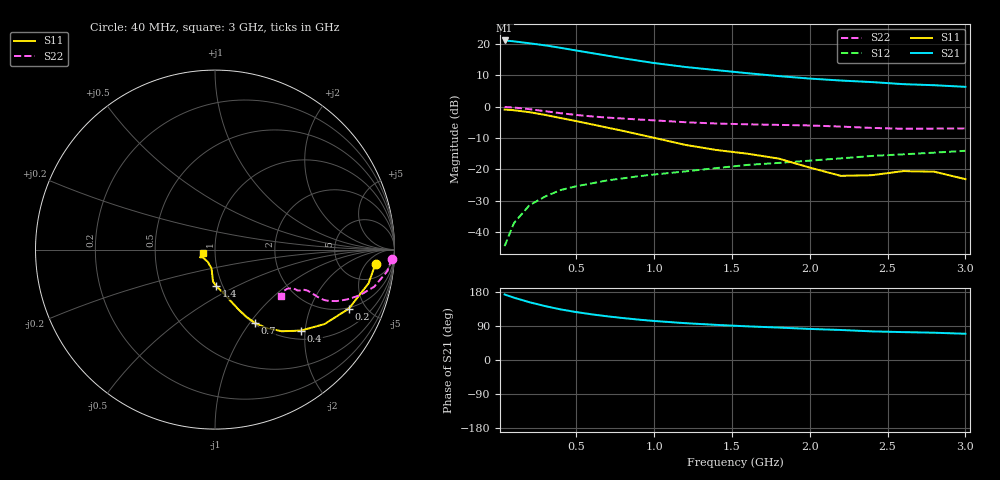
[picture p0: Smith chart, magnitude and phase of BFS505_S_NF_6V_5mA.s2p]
! Filename:  BFS505K.S2P  Version:  4.0
! Philips part #: BFS505  Date: Jun 1994
! Bias condition: Vce=6V, Ic=5mA
#  MHz  S  MA  R  50
! Freq  S11  S21  S12  S22  !GUM [dB]
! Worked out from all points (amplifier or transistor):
!   21 points, 40 MHz to 3 GHz, reference 50 ohm
!   highest |S21| = 21.1 dB at 40 MHz (marker M1)
!   |S21| within 3 dB of that: start of sweep to 476.6 MHz
!   unconditionally stable (mu >= 1): 1.174 GHz to end of sweep
!   at 300 MHz: K = 0.42, MSG = 24.1 dB, |S12| = -28.6 dB
!   at 1 GHz: K = 0.92, MSG = 17.8 dB, |S12| = -21.6 dB
!   at 3 GHz: K = 1.15, MAG = 7.9 dB, |S12| = -14.1 dB
!   lowest NFmin = 1.45 dB at 500 MHz
!   S11 on the Smith chart (normalised r, x): 40 MHz: 11, -9; 200 MHz: 1.94, -3.81; 400 MHz: 1.19, -1.90; 700 MHz: 1.02, -1.05; 1.4 GHz: 0.93, -0.40; 3 GHz: 0.87, -0.04
40  0.898 -5.0  11.31 172.9  0.006 85.6  0.986 -2.9
100  0.876 -12.4  10.94 164.5  0.014 80.8  0.968 -7.1
200  0.815 -23.8  10.2 152.4  0.027 74.7  0.911 -13.1
300  0.738 -34.2  9.448 142.3  0.037 70.1  0.846 -17.5
400  0.658 -43.3  8.631 133.5  0.047 67.4  0.786 -20.7
500  0.588 -50.7  7.824 126.5  0.054 65.8  0.737 -22.9
600  0.522 -56.8  7.109 120.5  0.06 65.0  0.698 -24.2
700  0.463 -61.6  6.473 115.2  0.067 65.0  0.669 -24.8
800  0.411 -65.1  5.887 110.7  0.072 65.1  0.646 -24.8
900  0.362 -68.3  5.388 106.6  0.078 65.4  0.624 -24.7
1000  0.319 -71.4  4.945 103.0  0.083 65.5  0.604 -24.4
1200  0.246 -79.1  4.279 97.2  0.093 65.9  0.565 -23.9
1400  0.204 -88.1  3.811 92.7  0.105 66.9  0.538 -24.4
1600  0.178 -93.6  3.406 88.8  0.118 67.3  0.523 -25.9
1800  0.149 -95.5  3.062 85.6  0.127 68.1  0.512 -26.4
2000  0.107 -100.3  2.796 82.0  0.138 68.4  0.501 -26.3
2200  0.079 -121.0  2.602 79.2  0.15 68.8  0.481 -26.5
2400  0.081 -147.7  2.458 75.5  0.164 68.8  0.458 -28.4
2600  0.094 -152.6  2.28 73.6  0.174 68.4  0.444 -31.7
2800  0.092 -153.1  2.191 72.0  0.185 69.5  0.447 -34.2
3000  0.07 -163.4  2.066 69.2  0.198 69.5  0.45 -35.1
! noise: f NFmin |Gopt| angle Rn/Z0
500  1.45  0.584  8  0.63
900  1.6  0.506  9  0.68
2000  2.2  0.365  35  0.55
